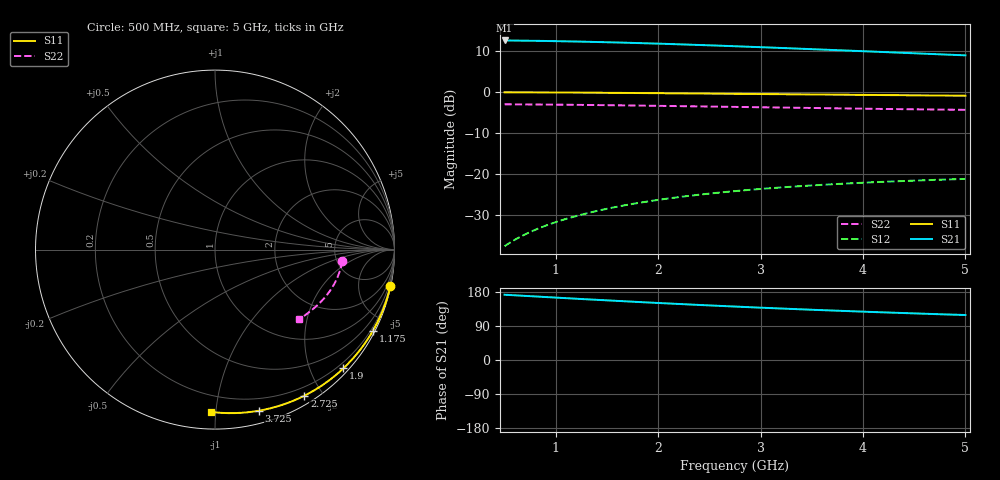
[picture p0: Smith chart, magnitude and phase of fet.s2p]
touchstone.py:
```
"""
Module: touchstone.py
Chức năng:
1. Đọc file Touchstone v1 2 cổng (.s2p) từ máy đo VNA / phần mềm mô phỏng.
2. Chuyển dữ liệu sang mảng ma trận S phức (num_freqs, 2, 2).
3. Nội suy ma trận S tại tần số bất kỳ trong dải dữ liệu (cấm ngoại suy).
4. Ghi ma trận S ra file .s2p (để xuất kết quả mô phỏng).
"""

import warnings
import numpy as np

FREQ_MULT = {'HZ': 1.0, 'KHZ': 1e3, 'MHZ': 1e6, 'GHZ': 1e9}


class Touchstone2P:
    """Lưu trữ và xử lý dữ liệu file .s2p của mạng 2 cổng."""

    def __init__(self, filename=None):
        self.filename = filename
        self.freqs = np.array([])        # Tần số (Hz), tăng dần
        self.s_matrices = np.array([])   # (num_freqs, 2, 2), complex
        self.z0 = 50.0                   # Trở kháng tham chiếu của file (Ohm)
        self.freq_unit = "GHZ"           # Mặc định của chuẩn Touchstone
        self.data_format = "MA"          # Mặc định của chuẩn Touchstone

        if filename is not None:
            self.load(filename)

    # -----------------------------------------------------------------
    def load(self, filename):
        """
        Đọc và phân tích cú pháp file .s2p.
        - Chú thích: mọi thứ sau '!' (kể cả cuối dòng dữ liệu) bị bỏ qua.
        - Dòng tùy chọn '#': # <Hz|kHz|MHz|GHz> S <MA|DB|RI> R <Z0>
        - Dữ liệu: mỗi bản ghi 9 số (f, S11, S21, S12, S22), được phép xuống dòng.
        """
        self.filename = filename
        mult = FREQ_MULT[self.freq_unit]
        fmt = self.data_format
        option_seen = False
        numbers = []

        with open(filename, 'r', encoding='utf-8') as f:
            for line_no, line in enumerate(f, 1):
                line_str = line.split('!', 1)[0].strip()      # bỏ chú thích
                if not line_str:
                    continue

                if line_str.startswith('#'):
                    if option_seen:                           # chuẩn: chỉ dòng '#' đầu tiên có hiệu lực
                        continue
                    option_seen = True
                    tokens = line_str[1:].upper().split()
                    i = 0
                    while i < len(tokens):
                        tok = tokens[i]
                        if tok in FREQ_MULT:
                            mult = FREQ_MULT[tok]
                            self.freq_unit = tok
                        elif tok in ("MA", "DB", "RI"):
                            fmt = tok
                            self.data_format = tok
                        elif tok in ("Y", "Z", "H", "G"):
                            raise NotImplementedError(f"Chỉ hỗ trợ tham số S, file dùng '{tok}'")
                        elif tok == "R" and i + 1 < len(tokens):
                            self.z0 = float(tokens[i + 1])
                            i += 1
                        i += 1
                    continue

                try:
                    numbers.extend(float(x) for x in line_str.split())
                except ValueError:
                    raise ValueError(f"{filename}, dòng {line_no}: dữ liệu không phải số: {line_str!r}")

        if len(numbers) % 9 != 0:
            raise ValueError(f"{filename}: số lượng giá trị ({len(numbers)}) không chia hết cho 9 "
                             f"-> file không phải 2 cổng hoặc bị thiếu dữ liệu")
        data = np.array(numbers).reshape(-1, 9)
        if data.shape[0] == 0:
            raise ValueError(f"{filename}: không có dòng dữ liệu")

        freq_list, s_list = [], []
        for row in data:
            s11 = self._parse_s_pair(row[1], row[2], fmt)
            s21 = self._parse_s_pair(row[3], row[4], fmt)
            s12 = self._parse_s_pair(row[5], row[6], fmt)
            s22 = self._parse_s_pair(row[7], row[8], fmt)
            # Thứ tự trong file 2 cổng là S11, S21, S12, S22 -> lắp đúng vị trí ma trận
            s_list.append(np.array([[s11, s12],
                                    [s21, s22]], dtype=complex))
            freq_list.append(row[0] * mult)

        self.freqs = np.array(freq_list, dtype=float)
        self.s_matrices = np.array(s_list, dtype=complex)

        if np.any(np.diff(self.freqs) <= 0):
            raise ValueError(f"{filename}: tần số phải tăng dần và không trùng lặp")
        if self.z0 != 50.0:
            warnings.warn(f"{filename}: trở kháng tham chiếu R = {self.z0} Ohm khác 50 Ohm; "
                          f"cần chuẩn hóa lại (renormalize) trước khi ghép vào mạch 50 Ohm.")
        return self

    # -----------------------------------------------------------------
    @staticmethod
    def _parse_s_pair(val1, val2, fmt):
        """
        Quy đổi cặp (val1, val2) sang số phức theo định dạng fmt.
        - MA: |S|, góc (độ)    - DB: 20*log10|S|, góc (độ)    - RI: phần thực, phần ảo
        """
        if fmt == "MA":
            return val1 * np.exp(1j * np.deg2rad(val2))
        if fmt == "DB":
            return 10.0 ** (val1 / 20.0) * np.exp(1j * np.deg2rad(val2))
        if fmt == "RI":
            return complex(val1, val2)
        raise ValueError(f"Định dạng {fmt} không hợp lệ.")

    # -----------------------------------------------------------------
    def s_interp(self, f_target, mode="ri"):
        """
        Nội suy tuyến tính ma trận S tại tần số f_target (Hz).
        mode = "ri": nội suy phần thực, phần ảo độc lập (mặc định, giống scikit-rf).
        mode = "ma": nội suy biên độ và pha đã unwrap (tốt hơn khi pha quay nhanh).
        Báo lỗi nếu f_target nằm ngoài dải dữ liệu (np.interp sẽ lặng lẽ lấy giá trị biên).
        """
        if len(self.freqs) == 0:
            raise ValueError("Chưa có dữ liệu tần số để nội suy.")
        f_target = float(f_target)
        f_lo, f_hi = self.freqs[0], self.freqs[-1]
        tol = 1e-9 * f_hi
        if f_target < f_lo - tol or f_target > f_hi + tol:
            raise ValueError(f"Tần số {f_target/1e9:.4f} GHz nằm ngoài dải dữ liệu "
                             f"[{f_lo/1e9:.4f}, {f_hi/1e9:.4f}] GHz của {self.filename}")

        s_target = np.zeros((2, 2), dtype=complex)
        for i in range(2):
            for j in range(2):
                sij = self.s_matrices[:, i, j]
                if mode == "ri":
                    re = np.interp(f_target, self.freqs, sij.real)
                    im = np.interp(f_target, self.freqs, sij.imag)
                    s_target[i, j] = re + 1j * im
                elif mode == "ma":
                    mag = np.interp(f_target, self.freqs, np.abs(sij))
                    ph = np.interp(f_target, self.freqs, np.unwrap(np.angle(sij)))
                    s_target[i, j] = mag * np.exp(1j * ph)
                else:
                    raise ValueError("mode phải là 'ri' hoặc 'ma'")
        return s_target


def load_s2p(filename):
    """
    Hàm tiện ích để Người C import và dùng ngay.
        ts = load_s2p("fet.s2p");  S = ts.s_interp(2.4e9)
    """
    return Touchstone2P(filename)


def save_s2p(filename, freqs, s_matrices, z0=50.0, fmt="RI", freq_unit="GHz", comment=""):
    """Ghi mảng S (num_freqs, 2, 2) ra file .s2p (thứ tự S11 S21 S12 S22)."""
    fmt = fmt.upper()
    mult = FREQ_MULT[freq_unit.upper()]
    with open(filename, "w", encoding="utf-8") as fh:
        for line in comment.splitlines():
            fh.write(f"! {line}\n")
        fh.write(f"# {freq_unit} S {fmt} R {z0:g}\n")
        for f, S in zip(freqs, s_matrices):
            vals = []
            for s in (S[0, 0], S[1, 0], S[0, 1], S[1, 1]):
                if fmt == "RI":
                    vals += [s.real, s.imag]
                elif fmt == "MA":
                    vals += [abs(s), np.angle(s, deg=True)]
                else:
                    vals += [20 * np.log10(abs(s)), np.angle(s, deg=True)]
            fh.write(f"{f / mult:.10g} " + " ".join(f"{v:.12g}" for v in vals) + "\n")


# =====================================================================
# BỘ TEST TỰ ĐỘNG & TẠO FILE MẪU DEMO
# =====================================================================
if __name__ == "__main__":
    print("=" * 60)
    print("KIỂM THỬ MODULE TOUCHSTONE.PY (NGƯỜI B)")
    print("=" * 60)

    # 1. File mẫu: đoạn dây lambda/4 tại 2.4 GHz (có chú thích cuối dòng, bản ghi xuống dòng)
    dummy = "sample_line.s2p"
    with open(dummy, "w", encoding="utf-8") as f:
        f.write("""! File mau: doan day ly tuong lambda/4 tai 2.4 GHz
# GHz S MA R 50.0
2.0  0.00 0.00  1.00 -75.00  1.00 -75.00  0.00 0.00   ! chu thich cuoi dong
2.4  0.00 0.00  1.00 -90.00
     1.00 -90.00  0.00 0.00                            ! ban ghi xuong dong
3.0  0.00 0.00  1.00 -112.5  1.00 -112.5  0.00 0.00
""")
    ts = load_s2p(dummy)
    assert len(ts.freqs) == 3 and np.isclose(ts.freqs[1], 2.4e9), "Lỗi đọc tần số"
    assert np.isclose(ts.s_matrices[1, 1, 0], -1j), "Lỗi parse S21 tại 2.4 GHz"
    print("[PASS] 1. Đọc file (chú thích cuối dòng, bản ghi xuống dòng), S21(2.4 GHz) = -j")

    # 2. Ba định dạng cho cùng dữ liệu
    for fmt in ("RI", "MA", "DB"):
        save_s2p("tmp.s2p", ts.freqs, ts.s_matrices + 0.1, fmt=fmt)
        assert np.allclose(load_s2p("tmp.s2p").s_matrices, ts.s_matrices + 0.1, atol=1e-10), f"Lỗi {fmt}"
    print("[PASS] 2. Ghi rồi đọc lại đúng ở cả ba định dạng RI, MA, DB")

    # 3. Nội suy tại trung điểm 2.2 GHz
    s22 = ts.s_interp(2.2e9)
    s22ma = ts.s_interp(2.2e9, mode="ma")
    assert np.isclose(abs(s22[1, 0]), np.cos(np.deg2rad(7.5))), "Lỗi nội suy RI"
    assert np.isclose(abs(s22ma[1, 0]), 1.0) and np.isclose(np.angle(s22ma[1, 0], deg=True), -82.5), "Lỗi nội suy MA"
    print(f"[PASS] 3. Nội suy 2.2 GHz: RI |S21| = {abs(s22[1,0]):.4f} (= cos 7.5°), "
          f"MA |S21| = {abs(s22ma[1,0]):.4f}, góc {np.angle(s22ma[1,0], deg=True):.1f}°")

    # 4. Cấm ngoại suy
    try:
        ts.s_interp(3.5e9)
        raise AssertionError("Không báo lỗi ngoại suy")
    except ValueError:
        print("[PASS] 4. Báo lỗi khi tần số nằm ngoài dải dữ liệu")

    import os
    os.remove("tmp.s2p")
    print("\n=> TẤT CẢ KIỂM THỬ ĐẠT.")
```
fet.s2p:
! FET tin hieu nho (mo hinh noi: Cgs=0.5pF Cgd=0.05pF Cds=0.1pF gm=50mS Rds=300 Ri=4 tau=1ps)
! KHONG THUAN NGHICH: S21 != S12 -> dung de kiem chung thuat toan noi cong
# GHz S RI R 50
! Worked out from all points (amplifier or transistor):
!   181 points, 500 MHz to 5 GHz, reference 50 ohm
!   highest |S21| = 12.6 dB at 500 MHz (marker M1)
!   |S21| within 3 dB of that: start of sweep to 4.383 GHz
!   unconditionally stable (mu >= 1): nowhere
!   at 1.25 GHz: K = 0.05, MSG = 21.0 dB, |S12| = -29.8 dB
!   at 2.75 GHz: K = 0.12, MSG = 17.6 dB, |S12| = -24.1 dB
!   at 5 GHz: K = 0.21, MSG = 15.0 dB, |S12| = -21.1 dB
!   S11 on the Smith chart (normalised r, x): 500 MHz: 0.10, -9.69; 1.175 GHz: 0.10, -4.12; 1.9 GHz: 0.10, -2.55; 2.725 GHz: 0.10, -1.78; 3.725 GHz: 0.10, -1.30; 5 GHz: 0.10, -0.97
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0.5  0.9769 -0.2038  -4.219 0.5752  0.00164 0.0133  0.7091 -0.0629
0.8  0.942 -0.3198  -4.118 0.9018  0.00412 0.0208  0.7014 -0.0993
1.175  0.8794 -0.4529  -3.937 1.276  0.00856 0.0293  0.6873 -0.1424
1.9  0.7153 -0.6615  -3.462 1.857  0.0202 0.0423  0.6503 -0.2152
2.3  0.6113 -0.7463  -3.162 2.09  0.0275 0.0473  0.6264 -0.249
2.725  0.498 -0.814  -2.834 2.272  0.0355 0.0511  0.6001 -0.2801
2.75  0.4913 -0.8173  -2.815 2.281  0.0359 0.0512  0.5985 -0.2818
3.225  0.3672 -0.8674  -2.457 2.411  0.0446 0.0536  0.5691 -0.3111
3.725  0.2441 -0.8977  -2.103 2.482  0.0532 0.0544  0.5391 -0.3371
4.325  0.1104 -0.9108  -1.719 2.501  0.0624 0.0538  0.5052 -0.3631
5  -0.0202 -0.9047  -1.346 2.461  0.0713 0.0516  0.4703 -0.3876
